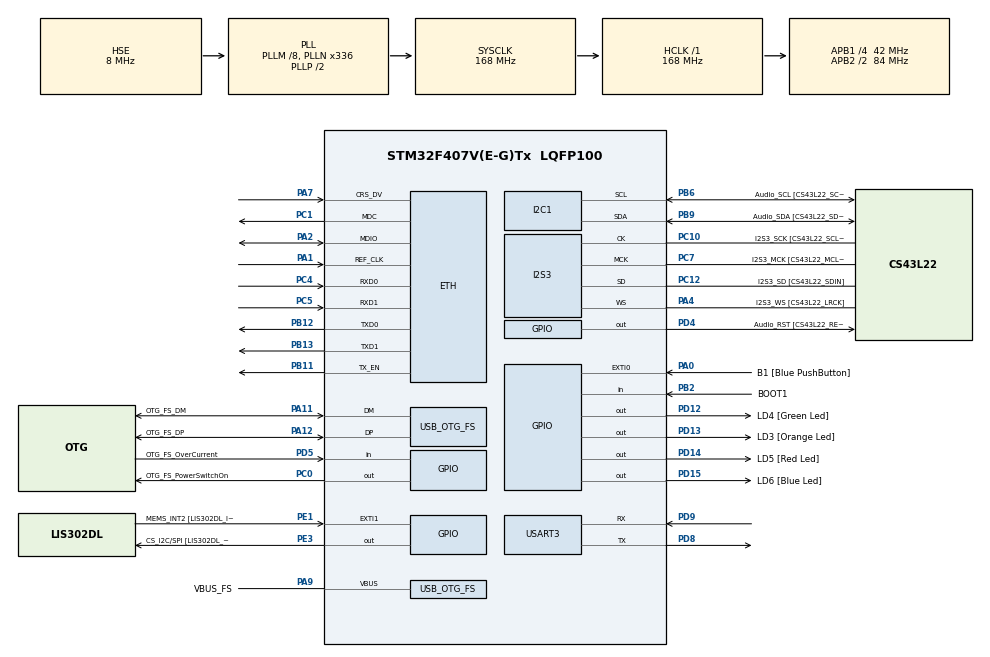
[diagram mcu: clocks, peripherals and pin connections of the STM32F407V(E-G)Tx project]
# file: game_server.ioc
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ETH.MACAddr=00\:80\:E1\:00\:00\:10
ETH.MediaInterface=ETH_MEDIA_INTERFACE_RMII
ETH.PhyAddress=0
I2S3.AudioFreq-Half_Duplex_Master=I2S_AUDIOFREQ_96K
I2S3.ErrorAudioFreq=-2.34 %
I2S3.ErrorAudioFreq-Half_Duplex_Master=0.8 %
I2S3.FullDuplexMode=I2S_FULLDUPLEXMODE_DISABLE
I2S3.Instance=SPI$Index
I2S3.RealAudioFreq=93.75 KHz
I2S3.RealAudioFreq-Half_Duplex_Master=96.774 KHz
I2S3.VirtualMode=I2S_MODE_MASTER
LWIP.GATEWAY_ADDRESS=192.168.001.254
LWIP.IP_ADDRESS=192.168.001.010
LWIP.LWIP_DHCP=0
LWIP.LWIP_HTTPD=1
LWIP.LWIP_HTTPD_CUSTOM_FILES=1
LWIP.LWIP_HTTPD_DYNAMIC_HEADERS=1
LWIP.NETMASK_ADDRESS=255.225.255.000
LWIP.Version=v2.0.3_Cube
Mcu.Family=STM32F4
Mcu.Name=STM32F407V(E-G)Tx
Mcu.Package=LQFP100
NVIC.OTG_FS_IRQn=true\:0\:0\:false\:false\:true\:true\:true
NVIC.PriorityGroup=NVIC_PRIORITYGROUP_0
NVIC.USART3_IRQn=true\:0\:0\:false\:false\:true\:true\:true
PA0-WKUP.GPIO_Label=B1 [Blue PushButton]
PA0-WKUP.GPIO_ModeDefaultEXTI=GPIO_MODE_EVT_RISING
PA0-WKUP.GPIO_PuPd=GPIO_NOPULL
PA0-WKUP.Signal=GPXTI0
PA1.Mode=RMII
PA1.Signal=ETH_REF_CLK
PA10.GPIO_Label=OTG_FS_ID
PA10.GPIO_Mode=GPIO_MODE_AF_PP
PA10.GPIO_PuPd=GPIO_NOPULL
PA10.GPIO_Speed=GPIO_SPEED_FREQ_LOW
PA10.Signal=USB_OTG_FS_ID
PA11.GPIO_Label=OTG_FS_DM
PA11.GPIO_Mode=GPIO_MODE_AF_PP
PA11.GPIO_PuPd=GPIO_NOPULL
PA11.GPIO_Speed=GPIO_SPEED_FREQ_LOW
PA11.Mode=Host_Only
PA11.Signal=USB_OTG_FS_DM
PA12.GPIO_Label=OTG_FS_DP
PA12.GPIO_Mode=GPIO_MODE_AF_PP
PA12.GPIO_PuPd=GPIO_NOPULL
PA12.GPIO_Speed=GPIO_SPEED_FREQ_LOW
PA12.Mode=Host_Only
PA12.Signal=USB_OTG_FS_DP
PA13.GPIO_Label=SWDIO
PA13.Mode=Serial_Wire
PA13.Signal=SYS_JTMS-SWDIO
PA14.GPIO_Label=SWCLK
PA14.Mode=Serial_Wire
PA14.Signal=SYS_JTCK-SWCLK
PA2.Mode=RMII
PA2.Signal=ETH_MDIO
PA4.GPIO_Label=I2S3_WS [CS43L22_LRCK]
PA4.GPIO_Mode=GPIO_MODE_AF_PP
PA4.GPIO_PuPd=GPIO_NOPULL
PA4.GPIO_Speed=GPIO_SPEED_FREQ_LOW
PA4.Mode=Half_Duplex_Master
PA4.Signal=I2S3_WS
PA5.GPIO_Label=SPI1_SCK [LIS302DL_SCL/SPC]
PA5.GPIO_Mode=GPIO_MODE_AF_PP
PA5.GPIO_PuPd=GPIO_NOPULL
PA5.GPIO_Speed=GPIO_SPEED_FREQ_LOW
PA5.Signal=SPI1_SCK
PA6.GPIO_Label=SPI1_MISO [LIS302DL_SDO]
PA6.GPIO_Mode=GPIO_MODE_AF_PP
PA6.GPIO_PuPd=GPIO_NOPULL
PA6.GPIO_Speed=GPIO_SPEED_FREQ_LOW
PA6.Signal=SPI1_MISO
PA7.Mode=RMII
PA7.Signal=ETH_CRS_DV
PA9.GPIO_Label=VBUS_FS
PA9.GPIO_Mode=GPIO_MODE_INPUT
PA9.GPIO_PuPd=GPIO_NOPULL
PA9.Mode=Activate_VBUS
PA9.Signal=USB_OTG_FS_VBUS
PB10.GPIO_Label=CLK_IN [MP45DT02_CLK]
PB10.GPIO_Mode=GPIO_MODE_AF_PP
PB10.GPIO_PuPd=GPIO_NOPULL
PB10.GPIO_Speed=GPIO_SPEED_FREQ_LOW
PB10.Signal=I2S2_CK
PB11.Mode=RMII
PB11.Signal=ETH_TX_EN
PB12.Mode=RMII
PB12.Signal=ETH_TXD0
PB13.Mode=RMII
PB13.Signal=ETH_TXD1
PB2.GPIO_Label=BOOT1
PB2.GPIO_Mode=GPIO_MODE_INPUT
PB2.GPIO_PuPd=GPIO_NOPULL
PB2.Signal=GPIO_Input
PB3.GPIO_Label=SWO
PB3.Signal=SYS_JTDO-SWO
PB6.GPIO_Label=Audio_SCL [CS43L22_SCL]
PB6.GPIO_Mode=GPIO_MODE_AF_OD
PB6.GPIO_PuPd=GPIO_NOPULL
PB6.GPIO_Speed=GPIO_SPEED_FREQ_LOW
PB6.Mode=I2C
PB6.Signal=I2C1_SCL
PB9.GPIO_Label=Audio_SDA [CS43L22_SDA]
PB9.GPIO_Mode=GPIO_MODE_AF_OD
PB9.GPIO_PuPd=GPIO_NOPULL
PB9.GPIO_Speed=GPIO_SPEED_FREQ_LOW
PB9.Mode=I2C
PB9.Signal=I2C1_SDA
PC0.GPIO_Label=OTG_FS_PowerSwitchOn
PC0.GPIO_PuPd=GPIO_NOPULL
PC0.GPIO_Speed=GPIO_SPEED_FREQ_LOW
PC0.PinState=GPIO_PIN_SET
PC0.Signal=GPIO_Output
PC1.Mode=RMII
PC1.Signal=ETH_MDC
PC10.GPIO_Label=I2S3_SCK [CS43L22_SCLK]
PC10.GPIO_Mode=GPIO_MODE_AF_PP
PC10.GPIO_PuPd=GPIO_NOPULL
PC10.GPIO_Speed=GPIO_SPEED_FREQ_LOW
PC10.Mode=Half_Duplex_Master
PC10.Signal=I2S3_CK
PC12.GPIO_Label=I2S3_SD [CS43L22_SDIN]
PC12.GPIO_Mode=GPIO_MODE_AF_PP
PC12.GPIO_PuPd=GPIO_NOPULL
PC12.GPIO_Speed=GPIO_SPEED_FREQ_LOW
PC12.Mode=Half_Duplex_Master
PC12.Signal=I2S3_SD
PC14-OSC32_IN.GPIO_Label=PC14-OSC32_IN
PC14-OSC32_IN.Mode=LSE-External-Oscillator
PC14-OSC32_IN.Signal=RCC_OSC32_IN
PC15-OSC32_OUT.GPIO_Label=PC15-OSC32_OUT
PC15-OSC32_OUT.Mode=LSE-External-Oscillator
PC15-OSC32_OUT.Signal=RCC_OSC32_OUT
PC3.GPIO_Label=PDM_OUT [MP45DT02_DOUT]
PC3.GPIO_Mode=GPIO_MODE_AF_PP
PC3.GPIO_PuPd=GPIO_NOPULL
PC3.GPIO_Speed=GPIO_SPEED_FREQ_LOW
PC3.Signal=I2S2_SD
PC4.Mode=RMII
PC4.Signal=ETH_RXD0
PC5.Mode=RMII
PC5.Signal=ETH_RXD1
PC7.GPIO_Label=I2S3_MCK [CS43L22_MCLK]
PC7.GPIO_Mode=GPIO_MODE_AF_PP
PC7.GPIO_PuPd=GPIO_NOPULL
PC7.GPIO_Speed=GPIO_SPEED_FREQ_LOW
PC7.Mode=Master_Clock_Activated
PC7.Signal=I2S3_MCK
PD12.GPIO_Label=LD4 [Green Led]
PD12.GPIO_PuPd=GPIO_NOPULL
PD12.GPIO_Speed=GPIO_SPEED_FREQ_LOW
PD12.Signal=GPIO_Output
PD13.GPIO_Label=LD3 [Orange Led]
PD13.GPIO_PuPd=GPIO_NOPULL
PD13.GPIO_Speed=GPIO_SPEED_FREQ_LOW
PD13.Signal=GPIO_Output
PD14.GPIO_Label=LD5 [Red Led]
PD14.GPIO_PuPd=GPIO_NOPULL
PD14.GPIO_Speed=GPIO_SPEED_FREQ_LOW
PD14.Signal=GPIO_Output
PD15.GPIO_Label=LD6 [Blue Led]
PD15.GPIO_PuPd=GPIO_NOPULL
PD15.GPIO_Speed=GPIO_SPEED_FREQ_LOW
PD15.Signal=GPIO_Output
PD4.GPIO_Label=Audio_RST [CS43L22_RESET]
PD4.GPIO_PuPd=GPIO_NOPULL
PD4.GPIO_Speed=GPIO_SPEED_FREQ_LOW
PD4.Signal=GPIO_Output
PD5.GPIO_Label=OTG_FS_OverCurrent
PD5.GPIO_Mode=GPIO_MODE_INPUT
PD5.GPIO_PuPd=GPIO_NOPULL
PD5.Signal=GPIO_Input
PD8.Mode=Asynchronous
PD8.Signal=USART3_TX
PD9.Mode=Asynchronous
PD9.Signal=USART3_RX
PE1.GPIO_Label=MEMS_INT2 [LIS302DL_INT2]
PE1.GPIO_ModeDefaultEXTI=GPIO_MODE_EVT_RISING
PE1.GPIO_PuPd=GPIO_NOPULL
PE1.Signal=GPXTI1
PE3.GPIO_Label=CS_I2C/SPI [LIS302DL_CS_I2C/SPI]
PE3.GPIO_PuPd=GPIO_NOPULL
PE3.GPIO_Speed=GPIO_SPEED_FREQ_LOW
PE3.Signal=GPIO_Output
PH0-OSC_IN.GPIO_Label=PH0-OSC_IN
PH0-OSC_IN.Mode=HSE-External-Oscillator
PH0-OSC_IN.Signal=RCC_OSC_IN
PH1-OSC_OUT.GPIO_Label=PH1-OSC_OUT
PH1-OSC_OUT.Mode=HSE-External-Oscillator
PH1-OSC_OUT.Signal=RCC_OSC_OUT
ProjectManager.HeapSize=0x200
ProjectManager.StackSize=0x400
ProjectManager.TargetToolchain=TrueSTUDIO
RCC.48MHZClocksFreq_Value=48000000
RCC.AHBFreq_Value=168000000
RCC.APB1CLKDivider=RCC_HCLK_DIV4
RCC.APB1Freq_Value=42000000
RCC.APB1TimFreq_Value=84000000
RCC.APB2CLKDivider=RCC_HCLK_DIV2
RCC.APB2Freq_Value=84000000
RCC.APB2TimFreq_Value=168000000
RCC.CortexFreq_Value=168000000
RCC.HCLKFreq_Value=168000000
RCC.HSE_VALUE=8000000
RCC.HSI_VALUE=16000000
RCC.PLLM=8
RCC.PLLN=336
RCC.PLLQ=7
RCC.SYSCLKFreq_VALUE=168000000
RCC.SYSCLKSource=RCC_SYSCLKSOURCE_PLLCLK
RCC.VCOOutputFreq_Value=336000000
USART3.VirtualMode=VM_ASYNC
USB_HOST.BSP.number=1
USB_HOST.USBH_HandleTypeDef-CDC_FS=hUsbHostFS
USB_HOST.VirtualModeFS=Cdc
USB_HOST0.BSP.STBoard=false
USB_HOST0.BSP.api=Unknown
USB_HOST0.BSP.i2caddr=0
USB_HOST0.BSP.i2creg=0
USB_HOST0.BSP.instance=PC0
USB_HOST0.BSP.ip=GPIO
USB_HOST0.BSP.mode=Output
USB_HOST0.BSP.name=Drive_VBUS_FS
USB_HOST0.BSP.solution=PC0
USB_OTG_FS.VirtualMode=Host_Only
USB_OTG_FS.phy_itface=HCD_PHY_EMBEDDED
VP_LWIP_VS_Enabled.Mode=Enabled
VP_USB_HOST_VS_USB_HOST_CDC_FS.Mode=CDC_FS
board=STM32F407G-DISC1

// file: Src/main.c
/* USER CODE BEGIN Header */
/**
  ******************************************************************************
  * @file           : main.c
  * @brief          : Main program body
  ******************************************************************************
  * @attention
  *
  * <h2><center>&copy; Copyright (c) 2019 STMicroelectronics.
  * All rights reserved.</center></h2>
  *
  * This software component is licensed by ST under Ultimate Liberty license
  * SLA0044, the "License"; You may not use this file except in compliance with
  * the License. You may obtain a copy of the License at:
  *                             www.st.com/SLA0044
  *
  ******************************************************************************
  */
/* USER CODE END Header */

#include "main.h"
#include "lwip.h"
#include "usb_host.h"

/* USER CODE BEGIN Includes */
#include <stdio.h>
#include "httpd.h"
#include "bum_player.h"
#include "accelerometer_handler.h"
#include <string.h>

/* USER CODE END Includes */

/* USER CODE BEGIN PD */
#define PLAYER_NAME "Jean"
/* USER CODE END PD */

I2C_HandleTypeDef hi2c1;

I2S_HandleTypeDef hi2s3;

UART_HandleTypeDef huart3;

/* USER CODE BEGIN PV */

event e;

#define TIM2_MS 10
#define BUMPER_DT_MS 100

/* USER CODE END PV */

void SystemClock_Config(void);
static void MX_GPIO_Init(void);
static void MX_I2C1_Init(void);
static void MX_I2S3_Init(void);
static void MX_USART3_UART_Init(void);
void MX_USB_HOST_Process(void);

/* USER CODE BEGIN 0 */

int8_t buffer[2] = {0};

#define ABS(x) (x < 0) ? (-x) : x

void HAL_UART_RxCpltCallback(UART_HandleTypeDef *huart)
{
  int8_t xval, yval = 0x00;

  xval = buffer[0];
  yval = buffer[1];

  set_accelerometer_values(buffer);

  if (ABS(xval) > 0)
  {
    HAL_GPIO_TogglePin(GPIOD, LD5_Pin);
  }

  if (ABS(yval) > 0)
  {
    HAL_GPIO_TogglePin(GPIOD, LD4_Pin);
  }

  // Restart receiving data on USART3
  HAL_UART_Receive_IT(&huart3, buffer, 2);
}

// int _write(int file, char *ptr, int len)
// {
//   HAL_UART_Transmit(&huart6, (uint8_t *)ptr, len, 1000);
//   return len;
// }

// void pwm_angle_to_registers(int angle)
// {
//   if (angle < -90)
//     angle = -90;
//   else if (angle > 90)
//     angle = 90;

//   // 100 counts / ms
//   // -90 --> 0.75 ms
//   //  90 --> 2.25 ms
//   // 100 * (0.75 + 1,5/180 * (angle + 90))

//   int pulse = 75 + (150 * (angle + 90)) / 180;
//   int period = pulse + 2000;

//   // Besoin de stopper le timer ? De reset ? d'attendre la fin d'un cycle ?
//   // Non : shadow registers
//   __HAL_TIM_SET_AUTORELOAD(&htim9, (period - 1));
//   __HAL_TIM_SET_COMPARE(&htim9, TIM_CHANNEL_1, (pulse - 1));
// }

void bumper_signal_error(int x)
{
  HAL_GPIO_WritePin(LD3_GPIO_Port, LD5_Pin, 1); // RED

  char buff[20];
  sprintf(buff, "ERROR %d<br/>", x);

  bum_log(buff);
}

void bumper_signal_debug(int x)
{
  HAL_GPIO_TogglePin(LD6_GPIO_Port, LD6_Pin); // BLUE
}

BumperProtocolPlayer bum_player;

#define JSON_ORDERS_SIZE 500
char json_orders[JSON_ORDERS_SIZE + 1];

int bumper_game_step(uint8_t step, uint8_t param)
{
  int len = strlen(json_orders);
  if (len > JSON_ORDERS_SIZE - 50)
    return 0;

  char msg[40];
  msg[0] = 0;
  switch (step)
  {
  case BUM_STEP_REGISTERED:
    switch (param)
    {
    case 0: // internal error
      strcpy(msg, "Internal Error");
      break;
    case 1: // OK
      strcpy(msg, "OK registered as ");
      strcat(msg, bum_player.name);
      break;
    case 2: // OK but already registered
      strcpy(msg, "OK already as ");
      strcat(msg, bum_player.name);
      break;
    case 3: // NO, too many players
      strcpy(msg, "Too many players");
      break;
    case 4: // NO, game already started
      strcpy(msg, "Too late");
      break;
    default:
      strcpy(msg, "param ???");
      break;
    }
    break;

  case BUM_STEP_START:
    strcpy(msg, "Playing as ");
    strcat(msg, bum_player.name);
    break;
    break;

  case BUM_STEP_RESULT:
    break;

  case BUM_STEP_END:
    sprintf(msg, "Game Over");
    break;

  default:
    strcpy(msg, "step ???");
    break;
  }

  if (msg[0])
  {
    sprintf(json_orders + len, "{\"display\":[{\"id\":\"step\",\"x\":200,\"y\":-5,\"content\":\"%s\"}]},", msg);
  }

  return 1;
}

int bumper_game_new_player(uint8_t id, const char *name, uint32_t color)
{
  int len = strlen(json_orders);
  if (len > JSON_ORDERS_SIZE - 50)
    return 0;
  sprintf(json_orders + len, "{\"new_player\":[{\"i\":%d,\"name\":\"%s\",\"color\": \"#%06X\"}]},", (unsigned int)id, name, (unsigned int)color);
  return 1;
}

int bumper_game_player_move(uint8_t id, uint16_t x, uint16_t y, uint16_t s)
{
  int len = strlen(json_orders);
  if (len > JSON_ORDERS_SIZE - 50)
    return 0;
  sprintf(json_orders + len, "{\"move\":[{\"i\":%d,\"x\":%d,\"y\":%d,\"a\":%d,\"s\":%d}]},", (unsigned int)id, (unsigned int)x, (unsigned int)y, 0, (unsigned int)s);
  return 1;
}

int bumper_game_print(const char *msg)
{
  int len = strlen(json_orders);
  if (len > JSON_ORDERS_SIZE - 50)
    return 0;
  sprintf(json_orders + len, "{\"display\":[{\"id\":\"score\",\"x\":10,\"y\":-5,\"content\":\"%s\"}]},", msg);
  return 1;
}

void bumper_init_player()
{
  bum_player.game_step = bumper_game_step;
  bum_player.game_new_player = bumper_game_new_player;
  bum_player.game_player_move = bumper_game_player_move;
  bum_player.game_print = bumper_game_print;

  bum_player.error = bumper_signal_error;
  bum_player.debug = bumper_signal_debug;

  bum_init_player(&bum_player);
}

WebInterface wi;

/* USER CODE END 0 */

int main(void)
{

  /* MCU Configuration--------------------------------------------------------*/

  /* Reset of all peripherals, Initializes the Flash interface and the Systick. */
  HAL_Init();

  /* Configure the system clock */
  SystemClock_Config();

  /* Initialize all configured peripherals */
  MX_GPIO_Init();
  MX_I2C1_Init();
  MX_I2S3_Init();
  MX_LWIP_Init();
  MX_USB_HOST_Init();
  MX_USART3_UART_Init();
  /* USER CODE BEGIN 2 */

  strcpy(bum_player.name, PLAYER_NAME);

  // web_interface_init(&wi);

  // MX_LWIP_Init_(0);

  // HAL_TIM_Base_Start_IT(&htim2);

  // event_init(&e);

  // Start receiving data on USART3
  HAL_UART_Receive_IT(&huart3, &buffer, 2);

  /* USER CODE END 2 */

  /* Infinite loop */
  /* USER CODE BEGIN WHILE */

  // HAL_DAC_Start(&hdac, DAC_CHANNEL_1);

  // Start AD conversion
  // HAL_ADC_Start(&hadc1);

  // Start timer 9
  // HAL_TIM_Base_Start(&htim9);
  // Start PWM on channel 1, timer 9
  // HAL_TIM_PWM_Start(&htim9, TIM_CHANNEL_1);
  httpd_init();

  // bumper_init_player();

  // strcpy(json_orders, "{\"L\":[");

  while (1)
  {
    /* USER CODE END WHILE */
    MX_USB_HOST_Process();

    /* USER CODE BEGIN 3 */

    MX_LWIP_Process();

    // bum_process_player();

    // Execute buttons pushed in web interface
    //   if (event_check(&wi.evt))
    //   {
    //     if (wi.button_register_player)
    //     {
    //       wi.button_register_player = 0;
    //       bum_game_register(bum_player.name);
    //     }

    //     if (wi.button_acc)
    //     {
    //       wi.button_acc = 0;
    //       bum_game_acceleration(wi.acc_x, wi.acc_y, 0);
    //     }
    //   }

    //   if (event_check(&e)) // If the event has been triggered
    //   {
    //     bum_process(TIM2_MS);

    //     static int N_BUMPER_DT_MS = 0;
    //     N_BUMPER_DT_MS += TIM2_MS;
    //     if (N_BUMPER_DT_MS >= BUMPER_DT_MS)
    //     {
    //       N_BUMPER_DT_MS = 0;
    //     }

    //     static int N500 = 0;
    //     N500 += TIM2_MS;
    //     if (N500 >= 500)
    //     {
    //       N500 = 0;
    //       HAL_GPIO_TogglePin(LD3_GPIO_Port, LD3_Pin); // ORANGE
    //     }
    //   }
  }
  /* USER CODE END 3 */
}

void SystemClock_Config(void)
{
  RCC_OscInitTypeDef RCC_OscInitStruct = {0};
  RCC_ClkInitTypeDef RCC_ClkInitStruct = {0};
  RCC_PeriphCLKInitTypeDef PeriphClkInitStruct = {0};

  /** Configure the main internal regulator output voltage
  */
  __HAL_RCC_PWR_CLK_ENABLE();
  __HAL_PWR_VOLTAGESCALING_CONFIG(PWR_REGULATOR_VOLTAGE_SCALE1);
  /** Initializes the CPU, AHB and APB busses clocks
  */
  RCC_OscInitStruct.OscillatorType = RCC_OSCILLATORTYPE_HSE;
  RCC_OscInitStruct.HSEState = RCC_HSE_ON;
  RCC_OscInitStruct.PLL.PLLState = RCC_PLL_ON;
  RCC_OscInitStruct.PLL.PLLSource = RCC_PLLSOURCE_HSE;
  RCC_OscInitStruct.PLL.PLLM = 8;
  RCC_OscInitStruct.PLL.PLLN = 336;
  RCC_OscInitStruct.PLL.PLLP = RCC_PLLP_DIV2;
  RCC_OscInitStruct.PLL.PLLQ = 7;
  if (HAL_RCC_OscConfig(&RCC_OscInitStruct) != HAL_OK)
  {
    Error_Handler();
  }
  /** Initializes the CPU, AHB and APB busses clocks
  */
  RCC_ClkInitStruct.ClockType = RCC_CLOCKTYPE_HCLK | RCC_CLOCKTYPE_SYSCLK | RCC_CLOCKTYPE_PCLK1 | RCC_CLOCKTYPE_PCLK2;
  RCC_ClkInitStruct.SYSCLKSource = RCC_SYSCLKSOURCE_PLLCLK;
  RCC_ClkInitStruct.AHBCLKDivider = RCC_SYSCLK_DIV1;
  RCC_ClkInitStruct.APB1CLKDivider = RCC_HCLK_DIV4;
  RCC_ClkInitStruct.APB2CLKDivider = RCC_HCLK_DIV2;

  if (HAL_RCC_ClockConfig(&RCC_ClkInitStruct, FLASH_LATENCY_5) != HAL_OK)
  {
    Error_Handler();
  }
  PeriphClkInitStruct.PeriphClockSelection = RCC_PERIPHCLK_I2S;
  PeriphClkInitStruct.PLLI2S.PLLI2SN = 192;
  PeriphClkInitStruct.PLLI2S.PLLI2SR = 2;
  if (HAL_RCCEx_PeriphCLKConfig(&PeriphClkInitStruct) != HAL_OK)
  {
    Error_Handler();
  }
}

static void MX_I2C1_Init(void)
{

  hi2c1.Instance = I2C1;
  hi2c1.Init.ClockSpeed = 100000;
  hi2c1.Init.DutyCycle = I2C_DUTYCYCLE_2;
  hi2c1.Init.OwnAddress1 = 0;
  hi2c1.Init.AddressingMode = I2C_ADDRESSINGMODE_7BIT;
  hi2c1.Init.DualAddressMode = I2C_DUALADDRESS_DISABLE;
  hi2c1.Init.OwnAddress2 = 0;
  hi2c1.Init.GeneralCallMode = I2C_GENERALCALL_DISABLE;
  hi2c1.Init.NoStretchMode = I2C_NOSTRETCH_DISABLE;
  if (HAL_I2C_Init(&hi2c1) != HAL_OK)
  {
    Error_Handler();
  }
}

static void MX_I2S3_Init(void)
{

  hi2s3.Instance = SPI3;
  hi2s3.Init.Mode = I2S_MODE_MASTER_TX;
  hi2s3.Init.Standard = I2S_STANDARD_PHILIPS;
  hi2s3.Init.DataFormat = I2S_DATAFORMAT_16B;
  hi2s3.Init.MCLKOutput = I2S_MCLKOUTPUT_ENABLE;
  hi2s3.Init.AudioFreq = I2S_AUDIOFREQ_96K;
  hi2s3.Init.CPOL = I2S_CPOL_LOW;
  hi2s3.Init.ClockSource = I2S_CLOCK_PLL;
  hi2s3.Init.FullDuplexMode = I2S_FULLDUPLEXMODE_DISABLE;
  if (HAL_I2S_Init(&hi2s3) != HAL_OK)
  {
    Error_Handler();
  }
}

static void MX_USART3_UART_Init(void)
{

  huart3.Instance = USART3;
  huart3.Init.BaudRate = 115200;
  huart3.Init.WordLength = UART_WORDLENGTH_8B;
  huart3.Init.StopBits = UART_STOPBITS_1;
  huart3.Init.Parity = UART_PARITY_NONE;
  huart3.Init.Mode = UART_MODE_TX_RX;
  huart3.Init.HwFlowCtl = UART_HWCONTROL_NONE;
  huart3.Init.OverSampling = UART_OVERSAMPLING_16;
  if (HAL_UART_Init(&huart3) != HAL_OK)
  {
    Error_Handler();
  }
}

static void MX_GPIO_Init(void)
{
  GPIO_InitTypeDef GPIO_InitStruct = {0};

  /* GPIO Ports Clock Enable */
  __HAL_RCC_GPIOE_CLK_ENABLE();
  __HAL_RCC_GPIOC_CLK_ENABLE();
  __HAL_RCC_GPIOH_CLK_ENABLE();
  __HAL_RCC_GPIOA_CLK_ENABLE();
  __HAL_RCC_GPIOB_CLK_ENABLE();
  __HAL_RCC_GPIOD_CLK_ENABLE();

  /*Configure GPIO pin Output Level */
  HAL_GPIO_WritePin(CS_I2C_SPI_GPIO_Port, CS_I2C_SPI_Pin, GPIO_PIN_RESET);

  /*Configure GPIO pin Output Level */
  HAL_GPIO_WritePin(OTG_FS_PowerSwitchOn_GPIO_Port, OTG_FS_PowerSwitchOn_Pin, GPIO_PIN_SET);

  /*Configure GPIO pin Output Level */
  HAL_GPIO_WritePin(GPIOD, LD4_Pin | LD3_Pin | LD5_Pin | LD6_Pin | Audio_RST_Pin, GPIO_PIN_RESET);

  /*Configure GPIO pin : CS_I2C_SPI_Pin */
  GPIO_InitStruct.Pin = CS_I2C_SPI_Pin;
  GPIO_InitStruct.Mode = GPIO_MODE_OUTPUT_PP;
  GPIO_InitStruct.Pull = GPIO_NOPULL;
  GPIO_InitStruct.Speed = GPIO_SPEED_FREQ_LOW;
  HAL_GPIO_Init(CS_I2C_SPI_GPIO_Port, &GPIO_InitStruct);

  /*Configure GPIO pin : OTG_FS_PowerSwitchOn_Pin */
  GPIO_InitStruct.Pin = OTG_FS_PowerSwitchOn_Pin;
  GPIO_InitStruct.Mode = GPIO_MODE_OUTPUT_PP;
  GPIO_InitStruct.Pull = GPIO_NOPULL;
  GPIO_InitStruct.Speed = GPIO_SPEED_FREQ_LOW;
  HAL_GPIO_Init(OTG_FS_PowerSwitchOn_GPIO_Port, &GPIO_InitStruct);

  /*Configure GPIO pin : PDM_OUT_Pin */
  GPIO_InitStruct.Pin = PDM_OUT_Pin;
  GPIO_InitStruct.Mode = GPIO_MODE_AF_PP;
  GPIO_InitStruct.Pull = GPIO_NOPULL;
  GPIO_InitStruct.Speed = GPIO_SPEED_FREQ_LOW;
  GPIO_InitStruct.Alternate = GPIO_AF5_SPI2;
  HAL_GPIO_Init(PDM_OUT_GPIO_Port, &GPIO_InitStruct);

  /*Configure GPIO pin : B1_Pin */
  GPIO_InitStruct.Pin = B1_Pin;
  GPIO_InitStruct.Mode = GPIO_MODE_EVT_RISING;
  GPIO_InitStruct.Pull = GPIO_NOPULL;
  HAL_GPIO_Init(B1_GPIO_Port, &GPIO_InitStruct);

  /*Configure GPIO pins : SPI1_SCK_Pin SPI1_MISO_Pin */
  GPIO_InitStruct.Pin = SPI1_SCK_Pin | SPI1_MISO_Pin;
  GPIO_InitStruct.Mode = GPIO_MODE_AF_PP;
  GPIO_InitStruct.Pull = GPIO_NOPULL;
  GPIO_InitStruct.Speed = GPIO_SPEED_FREQ_LOW;
  GPIO_InitStruct.Alternate = GPIO_AF5_SPI1;
  HAL_GPIO_Init(GPIOA, &GPIO_InitStruct);

  /*Configure GPIO pin : BOOT1_Pin */
  GPIO_InitStruct.Pin = BOOT1_Pin;
  GPIO_InitStruct.Mode = GPIO_MODE_INPUT;
  GPIO_InitStruct.Pull = GPIO_NOPULL;
  HAL_GPIO_Init(BOOT1_GPIO_Port, &GPIO_InitStruct);

  /*Configure GPIO pin : CLK_IN_Pin */
  GPIO_InitStruct.Pin = CLK_IN_Pin;
  GPIO_InitStruct.Mode = GPIO_MODE_AF_PP;
  GPIO_InitStruct.Pull = GPIO_NOPULL;
  GPIO_InitStruct.Speed = GPIO_SPEED_FREQ_LOW;
  GPIO_InitStruct.Alternate = GPIO_AF5_SPI2;
  HAL_GPIO_Init(CLK_IN_GPIO_Port, &GPIO_InitStruct);

  /*Configure GPIO pins : LD4_Pin LD3_Pin LD5_Pin LD6_Pin
                           Audio_RST_Pin */
  GPIO_InitStruct.Pin = LD4_Pin | LD3_Pin | LD5_Pin | LD6_Pin | Audio_RST_Pin;
  GPIO_InitStruct.Mode = GPIO_MODE_OUTPUT_PP;
  GPIO_InitStruct.Pull = GPIO_NOPULL;
  GPIO_InitStruct.Speed = GPIO_SPEED_FREQ_LOW;
  HAL_GPIO_Init(GPIOD, &GPIO_InitStruct);

  /*Configure GPIO pin : OTG_FS_OverCurrent_Pin */
  GPIO_InitStruct.Pin = OTG_FS_OverCurrent_Pin;
  GPIO_InitStruct.Mode = GPIO_MODE_INPUT;
  GPIO_InitStruct.Pull = GPIO_NOPULL;
  HAL_GPIO_Init(OTG_FS_OverCurrent_GPIO_Port, &GPIO_InitStruct);

  /*Configure GPIO pin : MEMS_INT2_Pin */
  GPIO_InitStruct.Pin = MEMS_INT2_Pin;
  GPIO_InitStruct.Mode = GPIO_MODE_EVT_RISING;
  GPIO_InitStruct.Pull = GPIO_NOPULL;
  HAL_GPIO_Init(MEMS_INT2_GPIO_Port, &GPIO_InitStruct);
}

void Error_Handler(void)
{
}

/************************ (C) COPYRIGHT STMicroelectronics *****END OF FILE****/
